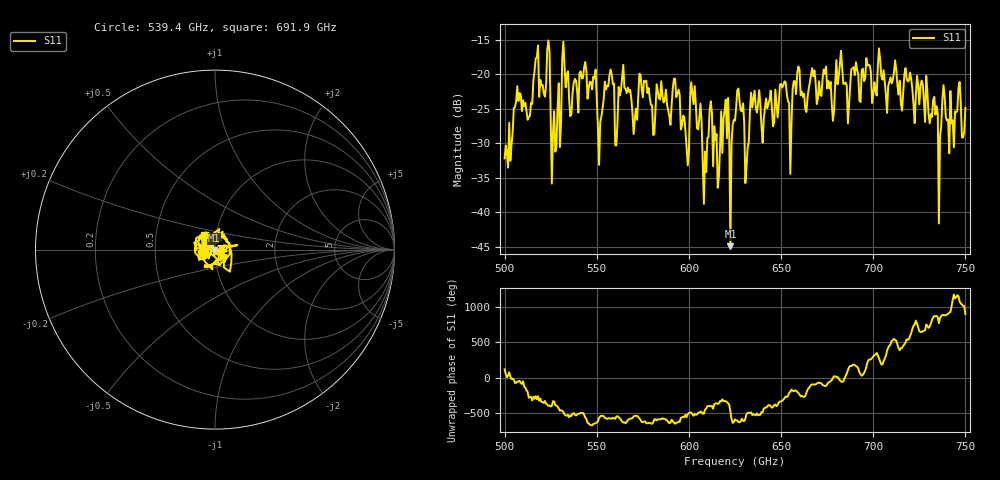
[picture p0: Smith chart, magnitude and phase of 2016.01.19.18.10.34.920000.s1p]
!Created with skrf (http://scikit-rf.org).
# GHz S RI R 50.0
!freq ReS11 ImS11
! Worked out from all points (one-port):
!   401 points, 500 GHz to 750 GHz, reference 50 ohm
!   lowest |S11| = -44.9 dB at 622.5 GHz (marker M1), VSWR 1.01, Z = 49.6 - j0.438 ohm
!   |S11| at or under -10 dB: start of sweep to end of sweep
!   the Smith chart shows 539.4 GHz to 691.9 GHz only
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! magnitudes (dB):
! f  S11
! 500 GHz  -32.2
! 507.5 GHz  -23.9
! 513.8 GHz  -26.0
! 516.9 GHz  -17.7
! 523.8 GHz  -15.1
! 526.9 GHz  -25.3
! 531.2 GHz  -17.7
! 548.1 GHz  -20.3
! 551.9 GHz  -26.9
! 556.9 GHz  -20.1
! 562.5 GHz  -23.0
! 593.8 GHz  -22.8
! 598.8 GHz  -30.7
! 602.5 GHz  -24.3
! 608.8 GHz  -31.2
! 611.2 GHz  -25.1
! 620 GHz  -23.6
! 622.5 GHz  -44.9
! 625 GHz  -26.7
! 631.2 GHz  -33.3
! 634.4 GHz  -24.8
! 656.2 GHz  -22.2
! 658.8 GHz  -19.9
! 687.5 GHz  -21.6
! 718.8 GHz  -21.0
! 735.6 GHz  -41.6
! 738.8 GHz  -23.3
! 750 GHz  -24.8
